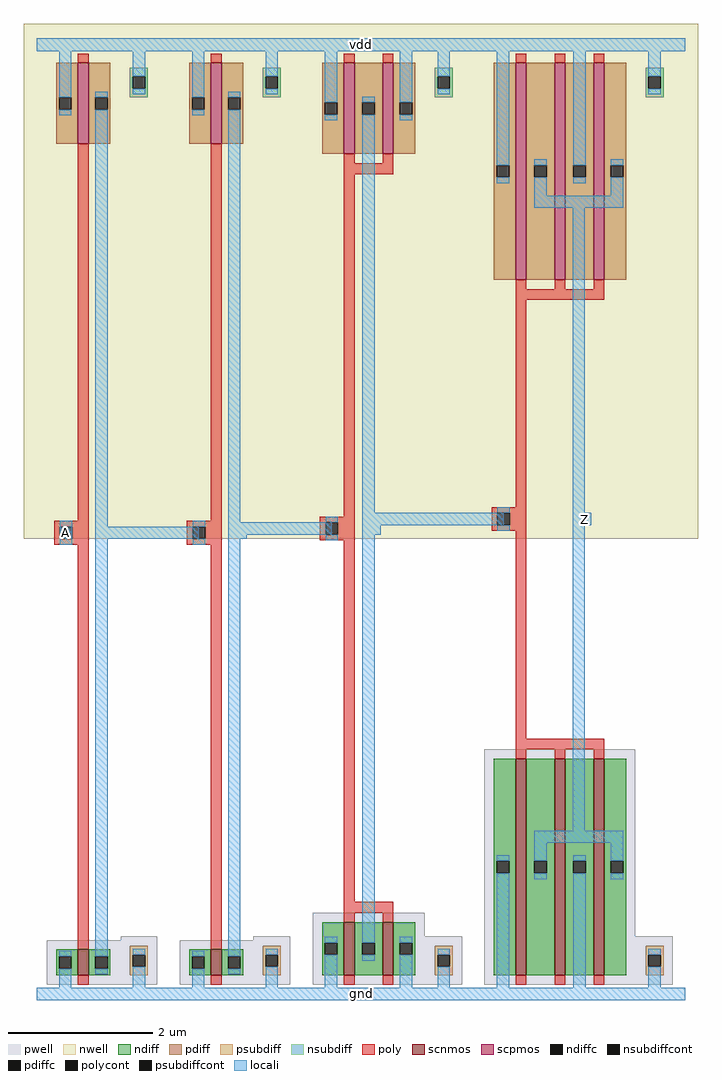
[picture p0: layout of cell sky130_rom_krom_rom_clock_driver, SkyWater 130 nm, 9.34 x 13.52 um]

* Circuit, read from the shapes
.subckt sky130_rom_krom_rom_clock_driver Z A gnd vdd
XM1 sky130_rom_krom_pinv_0/A A gnd gnd sky130_fd_pr__nfet_01v8 w=0.36 l=0.15
XM2 sky130_rom_krom_pinv_0_0/A sky130_rom_krom_pinv_0/A gnd gnd sky130_fd_pr__nfet_01v8 w=0.36 l=0.15
XM3 sky130_rom_krom_pinv_1_0/A sky130_rom_krom_pinv_0_0/A gnd gnd sky130_fd_pr__nfet_01v8 w=0.74 l=0.15 m=2
XM4 Z sky130_rom_krom_pinv_1_0/A gnd gnd sky130_fd_pr__nfet_01v8 w=3 l=0.15 m=3
XM5 sky130_rom_krom_pinv_0/A A vdd vdd sky130_fd_pr__pfet_01v8 w=1.12 l=0.15
XM6 sky130_rom_krom_pinv_0_0/A sky130_rom_krom_pinv_0/A vdd vdd sky130_fd_pr__pfet_01v8 w=1.12 l=0.15
XM7 sky130_rom_krom_pinv_1_0/A sky130_rom_krom_pinv_0_0/A vdd vdd sky130_fd_pr__pfet_01v8 w=1.26 l=0.15 m=2
XM8 Z sky130_rom_krom_pinv_1_0/A vdd vdd sky130_fd_pr__pfet_01v8 w=3 l=0.15 m=3
.ends

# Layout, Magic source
magic
tech sky130A
magscale 1 2
<< nwell >>
rect -36 1261 1832 2686
<< locali >>
rect 0 2611 1796 2645
rect 64 1244 98 1310
rect 196 1260 449 1294
rect 547 1272 817 1306
rect 919 1298 1293 1332
rect 1501 1298 1535 1332
rect 919 1289 953 1298
rect 0 -17 1796 17
use sky130_rom_krom_pinv  sky130_rom_krom_pinv_0
transform 1 0 368 0 1 0
box -36 -17 404 2686
use sky130_rom_krom_pinv_0  sky130_rom_krom_pinv_0_0
transform 1 0 736 0 1 0
box -36 -17 512 2686
use sky130_rom_krom_pinv  sky130_rom_krom_pinv_1
transform 1 0 0 0 1 0
box -36 -17 404 2686
use sky130_rom_krom_pinv_1  sky130_rom_krom_pinv_1_0
transform 1 0 1212 0 1 0
box -36 -17 620 2686
<< labels >>
rlabel locali s 1518 1315 1518 1315 4 Z
port 1 nsew
rlabel locali s 81 1277 81 1277 4 A
port 2 nsew
rlabel locali s 898 0 898 0 4 gnd
port 3 nsew
rlabel locali s 898 2628 898 2628 4 vdd
port 4 nsew
<< properties >>
string FIXED_BBOX 0 0 1796 2628
<< end >>

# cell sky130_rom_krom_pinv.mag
magic
tech sky130A
magscale 1 2
<< nwell >>
rect -36 1262 404 2686
<< pwell >>
rect 232 149 334 159
rect 28 25 334 149
<< scnmos >>
rect 114 51 144 123
<< scpmos >>
rect 114 2354 144 2578
<< ndiff >>
rect 54 104 114 123
rect 54 70 62 104
rect 96 70 114 104
rect 54 51 114 70
rect 144 104 204 123
rect 144 70 162 104
rect 196 70 204 104
rect 144 51 204 70
<< pdiff >>
rect 54 2483 114 2578
rect 54 2449 62 2483
rect 96 2449 114 2483
rect 54 2354 114 2449
rect 144 2483 204 2578
rect 144 2449 162 2483
rect 196 2449 204 2483
rect 144 2354 204 2449
<< ndiffc >>
rect 62 70 96 104
rect 162 70 196 104
<< pdiffc >>
rect 62 2449 96 2483
rect 162 2449 196 2483
<< psubdiff >>
rect 258 109 308 133
rect 258 75 266 109
rect 300 75 308 109
rect 258 51 308 75
<< nsubdiff >>
rect 258 2541 308 2565
rect 258 2507 266 2541
rect 300 2507 308 2541
rect 258 2483 308 2507
<< psubdiffcont >>
rect 266 75 300 109
<< nsubdiffcont >>
rect 266 2507 300 2541
<< poly >>
rect 114 2578 144 2604
rect 114 1310 144 2354
rect 48 1294 144 1310
rect 48 1260 64 1294
rect 98 1260 144 1294
rect 48 1244 144 1260
rect 114 123 144 1244
rect 114 25 144 51
<< polycont >>
rect 64 1260 98 1294
<< locali >>
rect 0 2612 368 2646
rect 62 2483 96 2612
rect 266 2541 300 2612
rect 62 2433 96 2449
rect 162 2483 196 2499
rect 266 2491 300 2507
rect 64 1294 98 1310
rect 64 1244 98 1260
rect 162 1294 196 2449
rect 162 1260 213 1294
rect 62 104 96 120
rect 62 17 96 70
rect 162 104 196 1260
rect 162 54 196 70
rect 266 109 300 125
rect 266 17 300 75
rect 0 -17 368 17
<< labels >>
rlabel locali s 81 1277 81 1277 4 A
port 1 nsew
rlabel locali s 196 1277 196 1277 4 Z
port 2 nsew
rlabel locali s 184 0 184 0 4 gnd
port 3 nsew
rlabel locali s 184 2629 184 2629 4 vdd
port 4 nsew
<< properties >>
string FIXED_BBOX 0 0 368 2382
<< end >>

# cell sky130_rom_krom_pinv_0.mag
magic
tech sky130A
magscale 1 2
<< nwell >>
rect -36 1262 512 2686
<< pwell >>
rect 28 159 338 225
rect 28 25 442 159
<< scnmos >>
rect 114 51 144 199
rect 222 51 252 199
<< scpmos >>
rect 114 2326 144 2578
rect 222 2326 252 2578
<< ndiff >>
rect 54 142 114 199
rect 54 108 62 142
rect 96 108 114 142
rect 54 51 114 108
rect 144 142 222 199
rect 144 108 166 142
rect 200 108 222 142
rect 144 51 222 108
rect 252 142 312 199
rect 252 108 270 142
rect 304 108 312 142
rect 252 51 312 108
<< pdiff >>
rect 54 2469 114 2578
rect 54 2435 62 2469
rect 96 2435 114 2469
rect 54 2326 114 2435
rect 144 2469 222 2578
rect 144 2435 166 2469
rect 200 2435 222 2469
rect 144 2326 222 2435
rect 252 2469 312 2578
rect 252 2435 270 2469
rect 304 2435 312 2469
rect 252 2326 312 2435
<< ndiffc >>
rect 62 108 96 142
rect 166 108 200 142
rect 270 108 304 142
<< pdiffc >>
rect 62 2435 96 2469
rect 166 2435 200 2469
rect 270 2435 304 2469
<< psubdiff >>
rect 366 109 416 133
rect 366 75 374 109
rect 408 75 416 109
rect 366 51 416 75
<< nsubdiff >>
rect 366 2541 416 2565
rect 366 2507 374 2541
rect 408 2507 416 2541
rect 366 2483 416 2507
<< psubdiffcont >>
rect 374 75 408 109
<< nsubdiffcont >>
rect 374 2507 408 2541
<< poly >>
rect 114 2578 144 2604
rect 222 2578 252 2604
rect 114 2300 144 2326
rect 222 2300 252 2326
rect 114 2270 252 2300
rect 114 1322 144 2270
rect 48 1306 144 1322
rect 48 1272 64 1306
rect 98 1272 144 1306
rect 48 1256 144 1272
rect 114 255 144 1256
rect 114 225 252 255
rect 114 199 144 225
rect 222 199 252 225
rect 114 25 144 51
rect 222 25 252 51
<< polycont >>
rect 64 1272 98 1306
<< locali >>
rect 0 2612 476 2646
rect 62 2469 96 2612
rect 62 2419 96 2435
rect 166 2469 200 2485
rect 64 1306 98 1322
rect 64 1256 98 1272
rect 166 1306 200 2435
rect 270 2469 304 2612
rect 374 2541 408 2612
rect 374 2491 408 2507
rect 270 2419 304 2435
rect 166 1272 217 1306
rect 62 142 96 158
rect 62 17 96 108
rect 166 142 200 1272
rect 166 92 200 108
rect 270 142 304 158
rect 270 17 304 108
rect 374 109 408 125
rect 374 17 408 75
rect 0 -17 476 17
<< labels >>
rlabel locali s 81 1289 81 1289 4 A
port 1 nsew
rlabel locali s 200 1289 200 1289 4 Z
port 2 nsew
rlabel locali s 238 0 238 0 4 gnd
port 3 nsew
rlabel locali s 238 2629 238 2629 4 vdd
port 4 nsew
<< properties >>
string FIXED_BBOX 0 0 476 2368
<< end >>

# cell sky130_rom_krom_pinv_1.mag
magic
tech sky130A
magscale 1 2
<< nwell >>
rect -36 1262 620 2686
<< pwell >>
rect 28 159 446 677
rect 28 25 550 159
<< scnmos >>
rect 114 51 144 651
rect 222 51 252 651
rect 330 51 360 651
<< scpmos >>
rect 114 1978 144 2578
rect 222 1978 252 2578
rect 330 1978 360 2578
<< ndiff >>
rect 54 368 114 651
rect 54 334 62 368
rect 96 334 114 368
rect 54 51 114 334
rect 144 368 222 651
rect 144 334 166 368
rect 200 334 222 368
rect 144 51 222 334
rect 252 368 330 651
rect 252 334 274 368
rect 308 334 330 368
rect 252 51 330 334
rect 360 368 420 651
rect 360 334 378 368
rect 412 334 420 368
rect 360 51 420 334
<< pdiff >>
rect 54 2295 114 2578
rect 54 2261 62 2295
rect 96 2261 114 2295
rect 54 1978 114 2261
rect 144 2295 222 2578
rect 144 2261 166 2295
rect 200 2261 222 2295
rect 144 1978 222 2261
rect 252 2295 330 2578
rect 252 2261 274 2295
rect 308 2261 330 2295
rect 252 1978 330 2261
rect 360 2295 420 2578
rect 360 2261 378 2295
rect 412 2261 420 2295
rect 360 1978 420 2261
<< ndiffc >>
rect 62 334 96 368
rect 166 334 200 368
rect 274 334 308 368
rect 378 334 412 368
<< pdiffc >>
rect 62 2261 96 2295
rect 166 2261 200 2295
rect 274 2261 308 2295
rect 378 2261 412 2295
<< psubdiff >>
rect 474 109 524 133
rect 474 75 482 109
rect 516 75 524 109
rect 474 51 524 75
<< nsubdiff >>
rect 474 2541 524 2565
rect 474 2507 482 2541
rect 516 2507 524 2541
rect 474 2483 524 2507
<< psubdiffcont >>
rect 482 75 516 109
<< nsubdiffcont >>
rect 482 2507 516 2541
<< poly >>
rect 114 2578 144 2604
rect 222 2578 252 2604
rect 330 2578 360 2604
rect 114 1952 144 1978
rect 222 1952 252 1978
rect 330 1952 360 1978
rect 114 1922 360 1952
rect 114 1348 144 1922
rect 48 1332 144 1348
rect 48 1298 64 1332
rect 98 1298 144 1332
rect 48 1282 144 1298
rect 114 707 144 1282
rect 114 677 360 707
rect 114 651 144 677
rect 222 651 252 677
rect 330 651 360 677
rect 114 25 144 51
rect 222 25 252 51
rect 330 25 360 51
<< polycont >>
rect 64 1298 98 1332
<< locali >>
rect 0 2612 584 2646
rect 62 2295 96 2612
rect 62 2245 96 2261
rect 166 2295 200 2311
rect 166 2211 200 2261
rect 274 2295 308 2612
rect 482 2541 516 2612
rect 482 2491 516 2507
rect 274 2245 308 2261
rect 378 2295 412 2311
rect 378 2211 412 2261
rect 166 2177 412 2211
rect 64 1332 98 1348
rect 64 1282 98 1298
rect 272 1332 306 2177
rect 272 1298 323 1332
rect 272 452 306 1298
rect 166 418 412 452
rect 62 368 96 384
rect 62 17 96 334
rect 166 368 200 418
rect 166 318 200 334
rect 274 368 308 384
rect 274 17 308 334
rect 378 368 412 418
rect 378 318 412 334
rect 482 109 516 125
rect 482 17 516 75
rect 0 -17 584 17
<< labels >>
rlabel locali s 81 1315 81 1315 4 A
port 1 nsew
rlabel locali s 306 1315 306 1315 4 Z
port 2 nsew
rlabel locali s 292 0 292 0 4 gnd
port 3 nsew
rlabel locali s 292 2629 292 2629 4 vdd
port 4 nsew
<< properties >>
string FIXED_BBOX 0 0 584 2194
<< end >>
